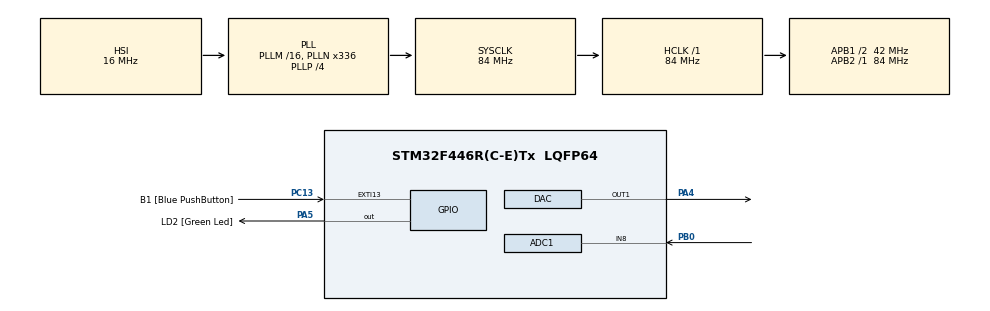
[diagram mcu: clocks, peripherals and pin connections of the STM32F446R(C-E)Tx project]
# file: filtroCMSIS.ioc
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ADC1.Channel-0\#ChannelRegularConversion=ADC_CHANNEL_8
ADC1.DMAContinuousRequests=ENABLE
ADC1.ExternalTrigConv=ADC_EXTERNALTRIGCONV_T2_TRGO
ADC1.NbrOfConversionFlag=1
ADC1.Rank-0\#ChannelRegularConversion=1
ADC1.SamplingTime-0\#ChannelRegularConversion=ADC_SAMPLETIME_3CYCLES
ADC1.master=1
DAC.DAC_Trigger=DAC_TRIGGER_T2_TRGO
Dma.ADC1.0.Direction=DMA_PERIPH_TO_MEMORY
Dma.ADC1.0.FIFOMode=DMA_FIFOMODE_DISABLE
Dma.ADC1.0.Instance=DMA2_Stream0
Dma.ADC1.0.MemDataAlignment=DMA_MDATAALIGN_HALFWORD
Dma.ADC1.0.MemInc=DMA_MINC_ENABLE
Dma.ADC1.0.Mode=DMA_CIRCULAR
Dma.ADC1.0.PeriphDataAlignment=DMA_PDATAALIGN_HALFWORD
Dma.ADC1.0.PeriphInc=DMA_PINC_DISABLE
Dma.ADC1.0.Priority=DMA_PRIORITY_HIGH
Dma.DAC1.1.Direction=DMA_MEMORY_TO_PERIPH
Dma.DAC1.1.FIFOMode=DMA_FIFOMODE_DISABLE
Dma.DAC1.1.Instance=DMA1_Stream5
Dma.DAC1.1.MemDataAlignment=DMA_MDATAALIGN_HALFWORD
Dma.DAC1.1.MemInc=DMA_MINC_ENABLE
Dma.DAC1.1.Mode=DMA_CIRCULAR
Dma.DAC1.1.PeriphDataAlignment=DMA_PDATAALIGN_HALFWORD
Dma.DAC1.1.PeriphInc=DMA_PINC_DISABLE
Dma.DAC1.1.Priority=DMA_PRIORITY_LOW
Dma.Request0=ADC1
Dma.Request1=DAC1
Mcu.Family=STM32F4
Mcu.Name=STM32F446R(C-E)Tx
Mcu.Package=LQFP64
NVIC.ADC_IRQn=true\:0\:0\:false\:false\:true\:true
NVIC.DMA1_Stream5_IRQn=true\:0\:0\:false\:false\:true\:false
NVIC.DMA2_Stream0_IRQn=true\:0\:0\:false\:false\:true\:false
NVIC.PriorityGroup=NVIC_PRIORITYGROUP_0
PA13.GPIO_Label=TMS
PA13.Mode=Serial_Wire
PA13.Signal=SYS_JTMS-SWDIO
PA14.GPIO_Label=TCK
PA14.Mode=Serial_Wire
PA14.Signal=SYS_JTCK-SWCLK
PA2.GPIO_Label=USART_TX
PA2.Signal=USART2_TX
PA3.GPIO_Label=USART_RX
PA3.Signal=USART2_RX
PA4.Signal=COMP_DAC1_group
PA5.GPIO_Label=LD2 [Green Led]
PA5.Signal=GPIO_Output
PB0.Signal=ADCx_IN8
PB3.GPIO_Label=SWO
PB3.Signal=SYS_JTDO-SWO
PC13.GPIO_Label=B1 [Blue PushButton]
PC13.GPIO_ModeDefaultEXTI=GPIO_MODE_IT_FALLING
PC13.Signal=GPXTI13
PC14-OSC32_IN.Mode=LSE-External-Oscillator
PC14-OSC32_IN.Signal=RCC_OSC32_IN
PC15-OSC32_OUT.Mode=LSE-External-Oscillator
PC15-OSC32_OUT.Signal=RCC_OSC32_OUT
PH0-OSC_IN.Mode=HSE-External-Oscillator
PH0-OSC_IN.Signal=RCC_OSC_IN
PH1-OSC_OUT.Mode=HSE-External-Oscillator
PH1-OSC_OUT.Signal=RCC_OSC_OUT
ProjectManager.HeapSize=0x200
ProjectManager.StackSize=0x400
ProjectManager.TargetToolchain=TrueSTUDIO
RCC.48MHZClocksFreq_Value=84000000
RCC.AHBFreq_Value=84000000
RCC.APB1CLKDivider=RCC_HCLK_DIV2
RCC.APB1Freq_Value=42000000
RCC.APB1TimFreq_Value=84000000
RCC.APB2Freq_Value=84000000
RCC.APB2TimFreq_Value=84000000
RCC.CortexFreq_Value=84000000
RCC.FLatency-AdvancedSettings=FLASH_LATENCY_2
RCC.HCLKFreq_Value=84000000
RCC.HSE_VALUE=8000000
RCC.HSI_VALUE=16000000
RCC.PLLN=336
RCC.PLLP=RCC_PLLP_DIV4
RCC.SYSCLKFreq_VALUE=84000000
RCC.SYSCLKSource=RCC_SYSCLKSOURCE_PLLCLK
RCC.USBFreq_Value=168000000
RCC.VCOOutputFreq_Value=336000000
SH.ADCx_IN8.0=ADC1_IN8,IN8
SH.COMP_DAC1_group.0=DAC_OUT1,DAC_OUT1
TIM2.Period=1
TIM2.Prescaler=839
TIM2.TIM_MasterOutputTrigger=TIM_TRGO_UPDATE
VP_TIM2_VS_ClockSourceINT.Mode=Internal
board=NUCLEO-F446RE

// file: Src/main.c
/* USER CODE BEGIN Header */

/* USER CODE END Header */

#include "main.h"
#include "adc.h"
#include "dac.h"
#include "dma.h"
#include "tim.h"
#include "gpio.h"

/* USER CODE BEGIN Includes */
#define ARM_MATH_CM4
#define __FPU_PRESENT 1
#include <arm_math.h>
/* USER CODE END Includes */

/* USER CODE BEGIN PV */

int i;
float32_t entrada = 0;
float32_t saida = 0;
uint32_t adcValue;
uint32_t adcValue1;

#define TAM_TESTE 1
#define BLOCK_SIZE 1
#define AMOSTRAS 512

arm_fir_instance_f32 instancia;

static float32_t firStateF32[BLOCK_SIZE+AMOSTRAS-1];

/*coeficientes do filtro FIR*/
const float32_t coeficientes[AMOSTRAS] = {40.17662296435457140E-6,
		 41.46224054870504720E-6,
		 42.68639796981261010E-6,
		 43.84223785769080450E-6,
		 44.92274799626250110E-6,
		 45.92076975098749610E-6,
		 46.82900702718184500E-6,
		 47.64003575651297950E-6,
		 48.34631390817839500E-6,
		 48.94019202028837160E-6,
		 49.41392424597528080E-6,
		 49.75967990774669400E-6,
		 49.96955555258572450E-6,
		 50.03558749928628660E-6,
		 49.94976486848781860E-6,
		 49.70404308485298370E-6,
		 49.29035783980850030E-6,
		 48.70063950224885470E-6,
		 47.92682796358559470E-6,
		 46.96088790251343430E-6,
		 45.79482445386016560E-6,
		 44.42069926489225650E-6,
		 42.83064692146428600E-6,
		 41.01689172542827320E-6,
		 38.97176480376320740E-6,
		 36.68772152894491970E-6,
		 34.15735922915415300E-6,
		 31.37343516601955780E-6,
		 28.32888475671336080E-6,
		 25.01684001636088790E-6,
		 21.43064819589577040E-6,
		 17.56389058969007520E-6,
		 13.41040148651480200E-6,
		 8.964287236643887270E-6,
		 4.219945407204926720E-6,
		-827.9160027961859210E-9,
		-6.184259316989218820E-6,
		-11.85369793550740350E-6,
		-17.84047711858777770E-6,
		-24.14845483080615550E-6,
		-30.78108267732932650E-6,
		-37.74138696400664370E-6,
		-45.03194991351483620E-6,
		-52.65489107011867990E-6,
		-60.61184892591069230E-6,
		-68.90396280164443960E-6,
		-77.53185501547980610E-6,
		-86.49561337311276080E-6,
		-95.79477401285934950E-6,
		-105.4283046393200040E-6,
		-115.3945881792387810E-6,
		-125.6914068931241250E-6,
		-136.3159269760775200E-6,
		-147.2646836811187820E-6,
		-158.5335669980698870E-6,
		-170.1178079207862200E-6,
		-182.0119653351895580E-6,
		-194.2099135601699230E-6,
		-206.7048305729788640E-6,
		-219.4891869502355920E-6,
		-232.5547355551104540E-6,
		-245.8925020006379330E-6,
		-259.4927759184450910E-6,
		-273.3451030614515960E-6,
		-287.4382782683277360E-6,
		-301.7603393166576210E-6,
		-316.2985616908715090E-6,
		-331.0394542900704660E-6,
		-345.9687560998769980E-6,
		-361.0714338514036970E-6,
		-376.3316806893344620E-6,
		-391.7329158699794220E-6,
		-407.2577855089689360E-6,
		-422.8881643970191250E-6,
		-438.6051589009221630E-6,
		-454.3891109655851320E-6,
		-470.2196032315804360E-6,
		-486.0754652812624950E-6,
		-501.9347810250570770E-6,
		-517.7748972380462650E-6,
		-533.5724332554643750E-6,
		-549.3032918341555160E-6,
		-564.9426711854728180E-6,
		-580.4650781834791360E-6,
		-595.8443427506870190E-6,
		-611.0536334218891170E-6,
		-626.0654740849760170E-6,
		-640.8517618959081120E-6,
		-655.3837863632998050E-6,
		-669.6322495963426040E-6,
		-683.5672877080185120E-6,
		-697.1584933638423540E-6,
		-710.3749394645501520E-6,
		-723.1852039494203840E-6,
		-735.5573957051285560E-6,
		-747.4591815632533100E-6,
		-758.8578143678023480E-6,
		-769.7201620923357270E-6,
		-780.0127379845436050E-6,
		-789.7017317143590840E-6,
		-798.7530414999811230E-6,
		-807.1323071844576590E-6,
		-814.8049442337957090E-6,
		-821.7361786258859410E-6,
		-827.8910825978965700E-6,
		-833.2346112181697890E-6,
		-837.7316397470654010E-6,
		-841.3470017496484840E-6,
		-844.0455279216121200E-6,
		-845.7920855883205600E-6,
		-846.5516188354708900E-6,
		-846.2891892284255850E-6,
		-844.9700170759629150E-6,
		-842.5595231928880370E-6,
		-839.0233711146904620E-6,
		-834.3275097162547810E-6,
		-828.4382161854991860E-6,
		-821.3221393017279300E-6,
		-812.9463429674769940E-6,
		-803.2783499416837000E-6,
		-792.2861857211014470E-6,
		-779.9384225160855520E-6,
		-766.2042232660935500E-6,
		-751.0533856395853720E-6,
		-734.4563859623701770E-6,
		-716.3844230179231540E-6,
		-696.8094616627299730E-6,
		-675.7042761993093340E-6,
		-653.0424934492720010E-6,
		-628.7986354685278910E-6,
		-602.9481618465987370E-6,
		-575.4675115319196270E-6,
		-546.3341441250189520E-6,
		-515.5265805815467960E-6,
		-483.0244432673009100E-6,
		-448.8084953076426590E-6,
		-412.8606791740271550E-6,
		-375.1641544507997990E-6,
		-335.7033347259002200E-6,
		-294.4639235497046460E-6,
		-251.4329494068977620E-6,
		-206.5987996470186660E-6,
		-159.9512533201518920E-6,
		-111.4815128651504640E-6,
		-61.18223459876169560E-6,
		-9.047557955106089620E-6,
		 44.92686657388730250E-6,
		 100.7438508452677870E-6,
		 158.4046438659332520E-6,
		 217.9089080330751930E-6,
		 279.2546968582216780E-6,
		 342.4384342173881350E-6,
		 407.4548951682430130E-6,
		 474.2971883735243070E-6,
		 542.9567401682149920E-6,
		 613.4232803061898950E-6,
		 685.6848294201773800E-6,
		 759.7276882269669610E-6,
		 835.5364285078044300E-6,
		 913.0938858918937060E-6,
		 992.3811544688270490E-6,
		 0.001073377583253627,
		 0.001156060774525905,
		 0.001240406584062398,
		 0.001326389123279885,
		 0.001413980763303165,
		 0.001503152140970425,
		 0.001593872166785963,
		 0.001686108034827793,
		 0.001779825234615257,
		 0.001874987564939277,
		 0.001971557149655409,
		 0.002069494455437386,
		 0.002168758311486291,
		 0.002269305931188012,
		 0.002371092935709112,
		 0.002474073379518647,
		 0.002578199777821089,
		 0.002683423135882814,
		 0.002789692980232229,
		 0.002896957391711075,
		 0.003005163040351932,
		 0.003114255222054518,
		 0.003224177897030930,
		 0.003334873729987534,
		 0.003446284132008854,
		 0.003558349304106447,
		 0.003671008282393403,
		 0.003784198984842909,
		 0.003897858259586983,
		 0.004011921934709391,
		 0.004126324869484567,
		 0.004241001007012301,
		 0.004355883428195925,
		 0.004470904407009726,
		 0.004585995466999545,
		 0.004701087438958466,
		 0.004816110519717955,
		 0.004930994331992939,
		 0.005045667985217809,
		 0.005160060137308724,
		 0.005274099057286121,
		 0.005387712688689992,
		 0.005500828713719153,
		 0.005613374618024497,
		 0.005725277756085187,
		 0.005836465417095537,
		 0.005946864891289563,
		 0.006056403536629196,
		 0.006165008845781465,
		 0.006272608513309248,
		 0.006379130502999662,
		 0.006484503115253579,
		 0.006588655054459661,
		 0.006691515496275629,
		 0.006793014154739679,
		 0.006893081349134650,
		 0.006991648070527789,
		 0.007088646047908791,
		 0.007184007813849386,
		 0.007277666769607795,
		 0.007369557249601972,
		 0.007459614585176052,
		 0.007547775167584984,
		 0.007633976510123285,
		 0.007718157309324392,
		 0.007800257505158272,
		 0.007880218340155926,
		 0.007957982417390423,
		 0.008033493757245576,
		 0.008106697852904375,
		 0.008177541724491035,
		 0.008245973971801822,
		 0.008311944825561302,
		 0.008375406197142733,
		 0.008436311726692599,
		 0.008494616829601474,
		 0.008550278741265125,
		 0.008603256560081906,
		 0.008653511288634426,
		 0.008701005873005676,
		 0.008745705240182073,
		 0.008787576333497985,
		 0.008826588146078854,
		 0.008862711752242177,
		 0.008895920336818334,
		 0.008926189222355498,
		 0.008953495894175526,
		 0.008977820023250446,
		 0.008999143486871485,
		 0.009017450387085627,
		 0.009032727066877045,
		 0.009044962124073845,
		 0.009054146422963013,
		 0.009060273103599416,
		 0.009063337588797581,
		 0.009063337588797581,
		 0.009060273103599416,
		 0.009054146422963013,
		 0.009044962124073845,
		 0.009032727066877045,
		 0.009017450387085627,
		 0.008999143486871485,
		 0.008977820023250446,
		 0.008953495894175526,
		 0.008926189222355498,
		 0.008895920336818334,
		 0.008862711752242177,
		 0.008826588146078854,
		 0.008787576333497985,
		 0.008745705240182073,
		 0.008701005873005676,
		 0.008653511288634426,
		 0.008603256560081906,
		 0.008550278741265125,
		 0.008494616829601474,
		 0.008436311726692599,
		 0.008375406197142733,
		 0.008311944825561302,
		 0.008245973971801822,
		 0.008177541724491035,
		 0.008106697852904375,
		 0.008033493757245576,
		 0.007957982417390423,
		 0.007880218340155926,
		 0.007800257505158272,
		 0.007718157309324392,
		 0.007633976510123285,
		 0.007547775167584984,
		 0.007459614585176052,
		 0.007369557249601972,
		 0.007277666769607795,
		 0.007184007813849386,
		 0.007088646047908791,
		 0.006991648070527789,
		 0.006893081349134650,
		 0.006793014154739679,
		 0.006691515496275629,
		 0.006588655054459661,
		 0.006484503115253579,
		 0.006379130502999662,
		 0.006272608513309248,
		 0.006165008845781465,
		 0.006056403536629196,
		 0.005946864891289563,
		 0.005836465417095537,
		 0.005725277756085187,
		 0.005613374618024497,
		 0.005500828713719153,
		 0.005387712688689992,
		 0.005274099057286121,
		 0.005160060137308724,
		 0.005045667985217809,
		 0.004930994331992939,
		 0.004816110519717955,
		 0.004701087438958466,
		 0.004585995466999545,
		 0.004470904407009726,
		 0.004355883428195925,
		 0.004241001007012301,
		 0.004126324869484567,
		 0.004011921934709391,
		 0.003897858259586983,
		 0.003784198984842909,
		 0.003671008282393403,
		 0.003558349304106447,
		 0.003446284132008854,
		 0.003334873729987534,
		 0.003224177897030930,
		 0.003114255222054518,
		 0.003005163040351932,
		 0.002896957391711075,
		 0.002789692980232229,
		 0.002683423135882814,
		 0.002578199777821089,
		 0.002474073379518647,
		 0.002371092935709112,
		 0.002269305931188012,
		 0.002168758311486291,
		 0.002069494455437386,
		 0.001971557149655409,
		 0.001874987564939277,
		 0.001779825234615257,
		 0.001686108034827793,
		 0.001593872166785963,
		 0.001503152140970425,
		 0.001413980763303165,
		 0.001326389123279885,
		 0.001240406584062398,
		 0.001156060774525905,
		 0.001073377583253627,
		 992.3811544688270490E-6,
		 913.0938858918937060E-6,
		 835.5364285078044300E-6,
		 759.7276882269669610E-6,
		 685.6848294201773800E-6,
		 613.4232803061898950E-6,
		 542.9567401682149920E-6,
		 474.2971883735243070E-6,
		 407.4548951682430130E-6,
		 342.4384342173881350E-6,
		 279.2546968582216780E-6,
		 217.9089080330751930E-6,
		 158.4046438659332520E-6,
		 100.7438508452677870E-6,
		 44.92686657388730250E-6,
		-9.047557955106089620E-6,
		-61.18223459876169560E-6,
		-111.4815128651504640E-6,
		-159.9512533201518920E-6,
		-206.5987996470186660E-6,
		-251.4329494068977620E-6,
		-294.4639235497046460E-6,
		-335.7033347259002200E-6,
		-375.1641544507997990E-6,
		-412.8606791740271550E-6,
		-448.8084953076426590E-6,
		-483.0244432673009100E-6,
		-515.5265805815467960E-6,
		-546.3341441250189520E-6,
		-575.4675115319196270E-6,
		-602.9481618465987370E-6,
		-628.7986354685278910E-6,
		-653.0424934492720010E-6,
		-675.7042761993093340E-6,
		-696.8094616627299730E-6,
		-716.3844230179231540E-6,
		-734.4563859623701770E-6,
		-751.0533856395853720E-6,
		-766.2042232660935500E-6,
		-779.9384225160855520E-6,
		-792.2861857211014470E-6,
		-803.2783499416837000E-6,
		-812.9463429674769940E-6,
		-821.3221393017279300E-6,
		-828.4382161854991860E-6,
		-834.3275097162547810E-6,
		-839.0233711146904620E-6,
		-842.5595231928880370E-6,
		-844.9700170759629150E-6,
		-846.2891892284255850E-6,
		-846.5516188354708900E-6,
		-845.7920855883205600E-6,
		-844.0455279216121200E-6,
		-841.3470017496484840E-6,
		-837.7316397470654010E-6,
		-833.2346112181697890E-6,
		-827.8910825978965700E-6,
		-821.7361786258859410E-6,
		-814.8049442337957090E-6,
		-807.1323071844576590E-6,
		-798.7530414999811230E-6,
		-789.7017317143590840E-6,
		-780.0127379845436050E-6,
		-769.7201620923357270E-6,
		-758.8578143678023480E-6,
		-747.4591815632533100E-6,
		-735.5573957051285560E-6,
		-723.1852039494203840E-6,
		-710.3749394645501520E-6,
		-697.1584933638423540E-6,
		-683.5672877080185120E-6,
		-669.6322495963426040E-6,
		-655.3837863632998050E-6,
		-640.8517618959081120E-6,
		-626.0654740849760170E-6,
		-611.0536334218891170E-6,
		-595.8443427506870190E-6,
		-580.4650781834791360E-6,
		-564.9426711854728180E-6,
		-549.3032918341555160E-6,
		-533.5724332554643750E-6,
		-517.7748972380462650E-6,
		-501.9347810250570770E-6,
		-486.0754652812624950E-6,
		-470.2196032315804360E-6,
		-454.3891109655851320E-6,
		-438.6051589009221630E-6,
		-422.8881643970191250E-6,
		-407.2577855089689360E-6,
		-391.7329158699794220E-6,
		-376.3316806893344620E-6,
		-361.0714338514036970E-6,
		-345.9687560998769980E-6,
		-331.0394542900704660E-6,
		-316.2985616908715090E-6,
		-301.7603393166576210E-6,
		-287.4382782683277360E-6,
		-273.3451030614515960E-6,
		-259.4927759184450910E-6,
		-245.8925020006379330E-6,
		-232.5547355551104540E-6,
		-219.4891869502355920E-6,
		-206.7048305729788640E-6,
		-194.2099135601699230E-6,
		-182.0119653351895580E-6,
		-170.1178079207862200E-6,
		-158.5335669980698870E-6,
		-147.2646836811187820E-6,
		-136.3159269760775200E-6,
		-125.6914068931241250E-6,
		-115.3945881792387810E-6,
		-105.4283046393200040E-6,
		-95.79477401285934950E-6,
		-86.49561337311276080E-6,
		-77.53185501547980610E-6,
		-68.90396280164443960E-6,
		-60.61184892591069230E-6,
		-52.65489107011867990E-6,
		-45.03194991351483620E-6,
		-37.74138696400664370E-6,
		-30.78108267732932650E-6,
		-24.14845483080615550E-6,
		-17.84047711858777770E-6,
		-11.85369793550740350E-6,
		-6.184259316989218820E-6,
		-827.9160027961859210E-9,
		 4.219945407204926720E-6,
		 8.964287236643887270E-6,
		 13.41040148651480200E-6,
		 17.56389058969007520E-6,
		 21.43064819589577040E-6,
		 25.01684001636088790E-6,
		 28.32888475671336080E-6,
		 31.37343516601955780E-6,
		 34.15735922915415300E-6,
		 36.68772152894491970E-6,
		 38.97176480376320740E-6,
		 41.01689172542827320E-6,
		 42.83064692146428600E-6,
		 44.42069926489225650E-6,
		 45.79482445386016560E-6,
		 46.96088790251343430E-6,
		 47.92682796358559470E-6,
		 48.70063950224885470E-6,
		 49.29035783980850030E-6,
		 49.70404308485298370E-6,
		 49.94976486848781860E-6,
		 50.03558749928628660E-6,
		 49.96955555258572450E-6,
		 49.75967990774669400E-6,
		 49.41392424597528080E-6,
		 48.94019202028837160E-6,
		 48.34631390817839500E-6,
		 47.64003575651297950E-6,
		 46.82900702718184500E-6,
		 45.92076975098749610E-6,
		 44.92274799626250110E-6,
		 43.84223785769080450E-6,
		 42.68639796981261010E-6,
		 41.46224054870504720E-6,
		 40.17662296435457140E-6};

uint32_t blocksize = BLOCK_SIZE;
uint32_t numBlocks = TAM_TESTE/BLOCK_SIZE;
/* USER CODE END PV */

void SystemClock_Config(void);

int main(void)
{

  /* MCU Configuration--------------------------------------------------------*/

  /* Reset of all peripherals, Initializes the Flash interface and the Systick. */
  HAL_Init();

  /* Configure the system clock */
  SystemClock_Config();

  /* Initialize all configured peripherals */
  MX_GPIO_Init();
  MX_DMA_Init();
  MX_ADC1_Init();
  MX_DAC_Init();
  MX_TIM2_Init();
  /* USER CODE BEGIN 2 */
  HAL_ADC_Start_DMA(&hadc1, adcValue, 1);/*Inicia ADC por DMA*/
  HAL_DAC_Start_DMA(&hdac, DAC_CHANNEL_1, (uint32_t*) adcValue1, 1, DAC_ALIGN_12B_R); /*Inicia DAC por DMA*/
  HAL_TIM_Base_Start(&htim2);/*Timer para Trig do ADC*/

	arm_fir_init_f32(&instancia, AMOSTRAS, (float32_t*)&coeficientes[0], &firStateF32[0],blocksize);/*Início da função*/

  /* USER CODE END 2 */

  /* Infinite loop */
  while (1)
  {

  }
}

void SystemClock_Config(void)
{
  RCC_OscInitTypeDef RCC_OscInitStruct = {0};
  RCC_ClkInitTypeDef RCC_ClkInitStruct = {0};

  /**Configure the main internal regulator output voltage
  */
  __HAL_RCC_PWR_CLK_ENABLE();
  __HAL_PWR_VOLTAGESCALING_CONFIG(PWR_REGULATOR_VOLTAGE_SCALE3);
  /**Initializes the CPU, AHB and APB busses clocks
  */
  RCC_OscInitStruct.OscillatorType = RCC_OSCILLATORTYPE_HSI;
  RCC_OscInitStruct.HSIState = RCC_HSI_ON;
  RCC_OscInitStruct.HSICalibrationValue = RCC_HSICALIBRATION_DEFAULT;
  RCC_OscInitStruct.PLL.PLLState = RCC_PLL_ON;
  RCC_OscInitStruct.PLL.PLLSource = RCC_PLLSOURCE_HSI;
  RCC_OscInitStruct.PLL.PLLM = 16;
  RCC_OscInitStruct.PLL.PLLN = 336;
  RCC_OscInitStruct.PLL.PLLP = RCC_PLLP_DIV4;
  RCC_OscInitStruct.PLL.PLLQ = 2;
  RCC_OscInitStruct.PLL.PLLR = 2;
  if (HAL_RCC_OscConfig(&RCC_OscInitStruct) != HAL_OK)
  {
    Error_Handler();
  }
  /**Initializes the CPU, AHB and APB busses clocks
  */
  RCC_ClkInitStruct.ClockType = RCC_CLOCKTYPE_HCLK|RCC_CLOCKTYPE_SYSCLK
                              |RCC_CLOCKTYPE_PCLK1|RCC_CLOCKTYPE_PCLK2;
  RCC_ClkInitStruct.SYSCLKSource = RCC_SYSCLKSOURCE_PLLCLK;
  RCC_ClkInitStruct.AHBCLKDivider = RCC_SYSCLK_DIV1;
  RCC_ClkInitStruct.APB1CLKDivider = RCC_HCLK_DIV2;
  RCC_ClkInitStruct.APB2CLKDivider = RCC_HCLK_DIV1;

  if (HAL_RCC_ClockConfig(&RCC_ClkInitStruct, FLASH_LATENCY_2) != HAL_OK)
  {
    Error_Handler();
  }
}

/* USER CODE BEGIN 4 */

void HAL_ADC_ConvCpltCallback(ADC_HandleTypeDef* hadc){
	if(hadc->Instance == ADC1)
	{
		entrada =(float32_t)adcValue[0];/*leitura do ADC*/
		arm_fir_f32(&instancia, &entrada, &saida, blocksize);/*Aplicação da função*/
		adcValue1 = (uint32_t)saida;/*plot para o DAC*/
	}
}
/* USER CODE END 4 */

void Error_Handler(void)
{
}

/************************ (C) COPYRIGHT STMicroelectronics *****END OF FILE****/
